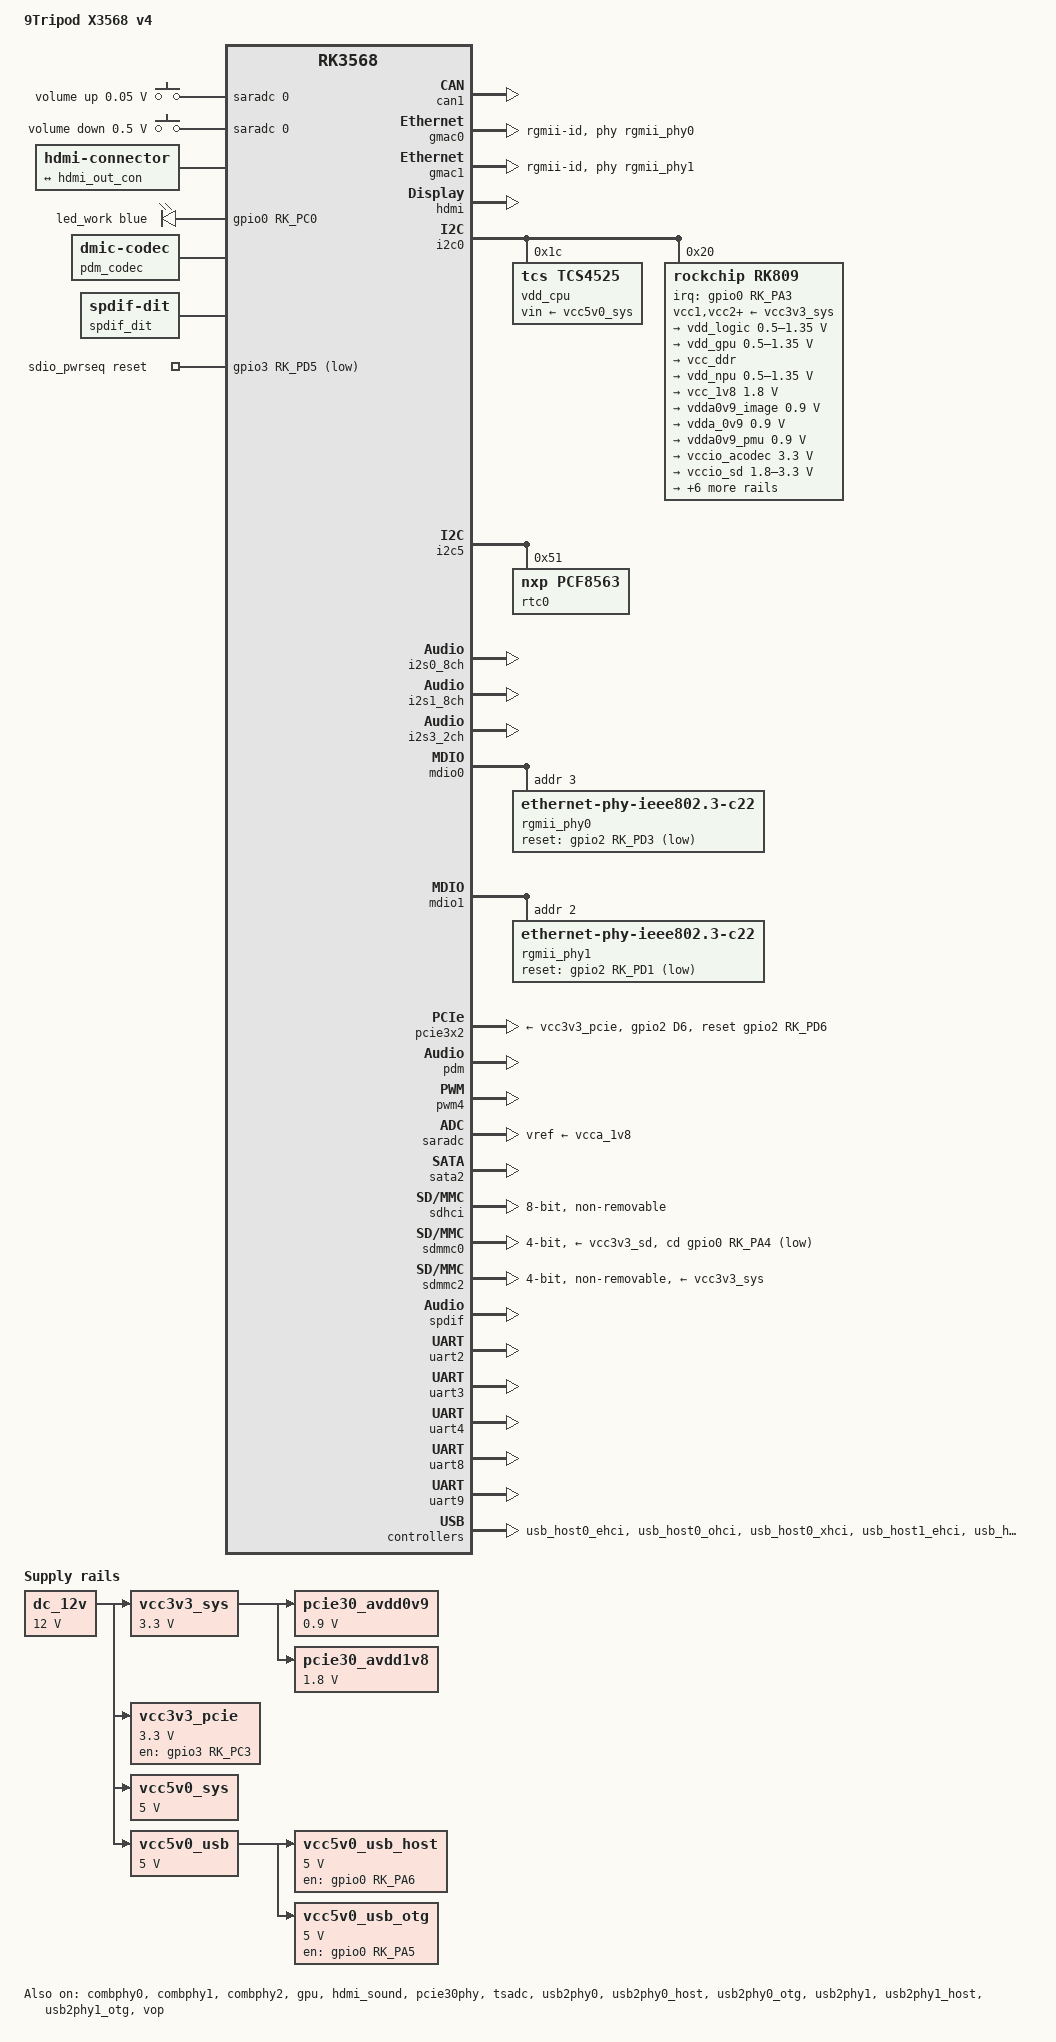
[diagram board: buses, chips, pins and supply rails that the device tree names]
// SPDX-License-Identifier: (GPL-2.0+ OR MIT)

/dts-v1/;
#include <dt-bindings/gpio/gpio.h>
#include <dt-bindings/input/input.h>
#include <dt-bindings/leds/common.h>
#include <dt-bindings/pinctrl/rockchip.h>
#include <dt-bindings/soc/rockchip,vop2.h>
#include "rk3568.dtsi"

/ {
	model = "9Tripod X3568 v4";
	compatible = "9tripod,x3568-v4", "rockchip,rk3568";

	aliases {
		ethernet0 = &gmac0;
		ethernet1 = &gmac1;
		mmc0 = &sdhci;
		mmc1 = &sdmmc0;
		mmc2 = &sdmmc2;
		rtc0 = &rtc0;
	};

	chosen {
		stdout-path = "serial2:1500000n8";
	};

	adc-keys {
		compatible = "adc-keys";
		io-channels = <&saradc 0>;
		io-channel-names = "buttons";
		keyup-threshold-microvolt = <1800000>;
		poll-interval = <100>;

		button-vol-up {
			label = "volume up";
			linux,code = <KEY_VOLUMEUP>;
			press-threshold-microvolt = <50000>;
		};

		button-vol-down {
			label = "volume down";
			linux,code = <KEY_VOLUMEDOWN>;
			press-threshold-microvolt = <500000>;
		};
	};

	hdmi-con {
		compatible = "hdmi-connector";
		type = "a";

		port {
			hdmi_con_in: endpoint {
				remote-endpoint = <&hdmi_out_con>;
			};
		};
	};

	leds {
		compatible = "gpio-leds";

		led_work: led-0 {
			gpios = <&gpio0 RK_PC0 GPIO_ACTIVE_HIGH>;
			function = LED_FUNCTION_HEARTBEAT;
			color = <LED_COLOR_ID_BLUE>;
			linux,default-trigger = "heartbeat";
			pinctrl-names = "default";
			pinctrl-0 = <&led_work_en>;
		};
	};

	rk809-sound {
		compatible = "simple-audio-card";
		simple-audio-card,format = "i2s";
		simple-audio-card,name = "Analog RK809";
		simple-audio-card,mclk-fs = <256>;

		simple-audio-card,cpu {
			sound-dai = <&i2s1_8ch>;
		};
		simple-audio-card,codec {
			sound-dai = <&rk809>;
		};
	};

	pdm_codec: pdm-codec {
		compatible = "dmic-codec";
		num-channels = <2>;
		#sound-dai-cells = <0>;
	};

	pdm_sound: pdm-sound {
		compatible = "simple-audio-card";
		simple-audio-card,name = "microphone";

		simple-audio-card,cpu {
			sound-dai = <&pdm>;
		};

		simple-audio-card,codec {
			sound-dai = <&pdm_codec>;
		};
	};

	spdif_dit: spdif-dit {
		compatible = "linux,spdif-dit";
		#sound-dai-cells = <0>;
	};

	spdif_sound: spdif-sound {
		compatible = "simple-audio-card";
		simple-audio-card,name = "SPDIF";

		simple-audio-card,cpu {
			sound-dai = <&spdif>;
		};
		simple-audio-card,codec {
			sound-dai = <&spdif_dit>;
		};
	};

	sdio_pwrseq: sdio-pwrseq {
		compatible = "mmc-pwrseq-simple";
		clocks = <&rk809 1>;
		clock-names = "ext_clock";
		pinctrl-names = "default";
		pinctrl-0 = <&wifi_enable>;
		post-power-on-delay-ms = <100>;
		power-off-delay-us = <300>;
		reset-gpios = <&gpio3 RK_PD5 GPIO_ACTIVE_LOW>;
	};

	dc_12v: regulator-dc-12v {
		compatible = "regulator-fixed";
		regulator-name = "dc_12v";
		regulator-always-on;
		regulator-boot-on;
		regulator-min-microvolt = <12000000>;
		regulator-max-microvolt = <12000000>;
	};

	pcie30_avdd0v9: regulator-pcie30-avdd0v9 {
		compatible = "regulator-fixed";
		regulator-name = "pcie30_avdd0v9";
		regulator-always-on;
		regulator-boot-on;
		regulator-min-microvolt = <900000>;
		regulator-max-microvolt = <900000>;
		vin-supply = <&vcc3v3_sys>;
	};

	pcie30_avdd1v8: regulator-pcie30-avdd1v8 {
		compatible = "regulator-fixed";
		regulator-name = "pcie30_avdd1v8";
		regulator-always-on;
		regulator-boot-on;
		regulator-min-microvolt = <1800000>;
		regulator-max-microvolt = <1800000>;
		vin-supply = <&vcc3v3_sys>;
	};

	vcc3v3_sys: regulator-vcc3v3-sys {
		compatible = "regulator-fixed";
		regulator-name = "vcc3v3_sys";
		regulator-always-on;
		regulator-boot-on;
		regulator-min-microvolt = <3300000>;
		regulator-max-microvolt = <3300000>;
		vin-supply = <&dc_12v>;
	};

	vcc3v3_pcie: regulator-vcc3v3-pcie {
		compatible = "regulator-fixed";
		enable-active-high;
		gpios = <&gpio3 RK_PC3 GPIO_ACTIVE_HIGH>;
		pinctrl-names = "default";
		pinctrl-0 = <&vcc3v3_pcie_en_pin>;
		regulator-name = "vcc3v3_pcie";
		regulator-min-microvolt = <3300000>;
		regulator-max-microvolt = <3300000>;
		startup-delay-us = <5000>;
		vin-supply = <&dc_12v>;
	};

	vcc5v0_sys: regulator-vcc5v0-sys {
		compatible = "regulator-fixed";
		regulator-name = "vcc5v0_sys";
		regulator-always-on;
		regulator-boot-on;
		regulator-min-microvolt = <5000000>;
		regulator-max-microvolt = <5000000>;
		vin-supply = <&dc_12v>;
	};

	vcc5v0_usb: regulator-vcc5v0-usb {
		compatible = "regulator-fixed";
		regulator-name = "vcc5v0_usb";
		regulator-always-on;
		regulator-boot-on;
		regulator-min-microvolt = <5000000>;
		regulator-max-microvolt = <5000000>;
		vin-supply = <&dc_12v>;
	};

	vcc5v0_usb_host: regulator-vcc5v0-usb-host {
		compatible = "regulator-fixed";
		enable-active-high;
		gpio = <&gpio0 RK_PA6 GPIO_ACTIVE_HIGH>;
		pinctrl-names = "default";
		pinctrl-0 = <&vcc5v0_usb_host_en>;
		regulator-name = "vcc5v0_usb_host";
		regulator-min-microvolt = <5000000>;
		regulator-max-microvolt = <5000000>;
		vin-supply = <&vcc5v0_usb>;
	};

	vcc5v0_usb_otg: regulator-vcc5v0-usb-otg {
		compatible = "regulator-fixed";
		enable-active-high;
		gpio = <&gpio0 RK_PA5 GPIO_ACTIVE_HIGH>;
		pinctrl-names = "default";
		pinctrl-0 = <&vcc5v0_usb_otg_en>;
		regulator-name = "vcc5v0_usb_otg";
		regulator-min-microvolt = <5000000>;
		regulator-max-microvolt = <5000000>;
		vin-supply = <&vcc5v0_usb>;
	};
};

&can1 {
	assigned-clocks = <&cru CLK_CAN1>;
	assigned-clock-rates = <150000000>;
	pinctrl-names = "default";
	pinctrl-0 = <&can1m1_pins>;
	status = "okay";
};

/* used for usb_host0_xhci */
&combphy0 {
	status = "okay";
};

/* used for usb_host1_xhci */
&combphy1 {
	status = "okay";
};

/* connected to sata2 */
&combphy2 {
	status = "okay";
};

&cpu0 {
	cpu-supply = <&vdd_cpu>;
};

&cpu1 {
	cpu-supply = <&vdd_cpu>;
};

&cpu2 {
	cpu-supply = <&vdd_cpu>;
};

&cpu3 {
	cpu-supply = <&vdd_cpu>;
};

&gmac0 {
	assigned-clocks = <&cru SCLK_GMAC0_RX_TX>, <&cru SCLK_GMAC0>;
	assigned-clock-parents = <&cru SCLK_GMAC0_RGMII_SPEED>;
	assigned-clock-rates = <0>, <125000000>;
	clock_in_out = "output";
	pinctrl-names = "default";
	pinctrl-0 = <&gmac0_miim
		     &gmac0_tx_bus2
		     &gmac0_rx_bus2
		     &gmac0_rgmii_clk
		     &gmac0_rgmii_bus>;
	phy-handle = <&rgmii_phy0>;
	phy-mode = "rgmii-id";
	status = "okay";
};

&gmac1 {
	assigned-clocks = <&cru SCLK_GMAC1_RX_TX>, <&cru SCLK_GMAC1>;
	assigned-clock-parents = <&cru SCLK_GMAC1_RGMII_SPEED>;
	assigned-clock-rates = <0>, <125000000>;
	clock_in_out = "output";
	pinctrl-names = "default";
	pinctrl-0 = <&gmac1m1_miim
		     &gmac1m1_tx_bus2
		     &gmac1m1_rx_bus2
		     &gmac1m1_rgmii_clk
		     &gmac1m1_rgmii_bus>;
	phy-handle = <&rgmii_phy1>;
	phy-mode = "rgmii-id";
	status = "okay";
};

&gpu {
	mali-supply = <&vdd_gpu>;
	status = "okay";
};

&hdmi {
	avdd-0v9-supply = <&vdda0v9_image>;
	avdd-1v8-supply = <&vcca1v8_image>;
	status = "okay";
};

&hdmi_in {
	hdmi_in_vp0: endpoint {
		remote-endpoint = <&vp0_out_hdmi>;
	};
};

&hdmi_out {
	hdmi_out_con: endpoint {
		remote-endpoint = <&hdmi_con_in>;
	};
};

&hdmi_sound {
	status = "okay";
};

&i2c0 {
	status = "okay";

	vdd_cpu: regulator@1c {
		compatible = "tcs,tcs4525";
		reg = <0x1c>;
		fcs,suspend-voltage-selector = <1>;
		regulator-name = "vdd_cpu";
		regulator-always-on;
		regulator-boot-on;
		regulator-min-microvolt = <800000>;
		regulator-max-microvolt = <1150000>;
		regulator-ramp-delay = <2300>;
		vin-supply = <&vcc5v0_sys>;

		regulator-state-mem {
			regulator-off-in-suspend;
		};
	};

	rk809: pmic@20 {
		compatible = "rockchip,rk809";
		reg = <0x20>;
		interrupt-parent = <&gpio0>;
		interrupts = <RK_PA3 IRQ_TYPE_LEVEL_LOW>;
		assigned-clocks = <&cru I2S1_MCLKOUT_TX>;
		assigned-clock-parents = <&cru CLK_I2S1_8CH_TX>;
		#clock-cells = <1>;
		clock-names = "mclk";
		clocks = <&cru I2S1_MCLKOUT_TX>;
		pinctrl-names = "default";
		pinctrl-0 = <&pmic_int>, <&i2s1m0_mclk>;
		system-power-controller;
		#sound-dai-cells = <0>;
		vcc1-supply = <&vcc3v3_sys>;
		vcc2-supply = <&vcc3v3_sys>;
		vcc3-supply = <&vcc3v3_sys>;
		vcc4-supply = <&vcc3v3_sys>;
		vcc5-supply = <&vcc3v3_sys>;
		vcc6-supply = <&vcc3v3_sys>;
		vcc7-supply = <&vcc3v3_sys>;
		vcc8-supply = <&vcc3v3_sys>;
		vcc9-supply = <&vcc3v3_sys>;
		wakeup-source;

		regulators {
			vdd_logic: DCDC_REG1 {
				regulator-name = "vdd_logic";
				regulator-always-on;
				regulator-boot-on;
				regulator-initial-mode = <0x2>;
				regulator-min-microvolt = <500000>;
				regulator-max-microvolt = <1350000>;
				regulator-ramp-delay = <6001>;

				regulator-state-mem {
					regulator-off-in-suspend;
				};
			};

			vdd_gpu: DCDC_REG2 {
				regulator-name = "vdd_gpu";
				regulator-always-on;
				regulator-initial-mode = <0x2>;
				regulator-min-microvolt = <500000>;
				regulator-max-microvolt = <1350000>;
				regulator-ramp-delay = <6001>;

				regulator-state-mem {
					regulator-off-in-suspend;
				};
			};

			vcc_ddr: DCDC_REG3 {
				regulator-name = "vcc_ddr";
				regulator-always-on;
				regulator-boot-on;
				regulator-initial-mode = <0x2>;

				regulator-state-mem {
					regulator-on-in-suspend;
				};
			};

			vdd_npu: DCDC_REG4 {
				regulator-name = "vdd_npu";
				regulator-initial-mode = <0x2>;
				regulator-min-microvolt = <500000>;
				regulator-max-microvolt = <1350000>;
				regulator-ramp-delay = <6001>;

				regulator-state-mem {
					regulator-off-in-suspend;
				};
			};

			vcc_1v8: DCDC_REG5 {
				regulator-name = "vcc_1v8";
				regulator-always-on;
				regulator-boot-on;
				regulator-min-microvolt = <1800000>;
				regulator-max-microvolt = <1800000>;

				regulator-state-mem {
					regulator-off-in-suspend;
				};
			};

			vdda0v9_image: LDO_REG1 {
				regulator-name = "vdda0v9_image";
				regulator-min-microvolt = <900000>;
				regulator-max-microvolt = <900000>;

				regulator-state-mem {
					regulator-off-in-suspend;
				};
			};

			vdda_0v9: LDO_REG2 {
				regulator-name = "vdda_0v9";
				regulator-always-on;
				regulator-boot-on;
				regulator-min-microvolt = <900000>;
				regulator-max-microvolt = <900000>;

				regulator-state-mem {
					regulator-off-in-suspend;
				};
			};

			vdda0v9_pmu: LDO_REG3 {
				regulator-name = "vdda0v9_pmu";
				regulator-always-on;
				regulator-boot-on;
				regulator-min-microvolt = <900000>;
				regulator-max-microvolt = <900000>;

				regulator-state-mem {
					regulator-on-in-suspend;
					regulator-suspend-microvolt = <900000>;
				};
			};

			vccio_acodec: LDO_REG4 {
				regulator-name = "vccio_acodec";
				regulator-always-on;
				regulator-min-microvolt = <3300000>;
				regulator-max-microvolt = <3300000>;

				regulator-state-mem {
					regulator-off-in-suspend;
				};
			};

			vccio_sd: LDO_REG5 {
				regulator-name = "vccio_sd";
				regulator-min-microvolt = <1800000>;
				regulator-max-microvolt = <3300000>;

				regulator-state-mem {
					regulator-off-in-suspend;
				};
			};

			vcc3v3_pmu: LDO_REG6 {
				regulator-name = "vcc3v3_pmu";
				regulator-always-on;
				regulator-boot-on;
				regulator-min-microvolt = <3300000>;
				regulator-max-microvolt = <3300000>;

				regulator-state-mem {
					regulator-on-in-suspend;
					regulator-suspend-microvolt = <3300000>;
				};
			};

			vcca_1v8: LDO_REG7 {
				regulator-name = "vcca_1v8";
				regulator-always-on;
				regulator-boot-on;
				regulator-min-microvolt = <1800000>;
				regulator-max-microvolt = <1800000>;

				regulator-state-mem {
					regulator-off-in-suspend;
				};
			};

			vcca1v8_pmu: LDO_REG8 {
				regulator-name = "vcca1v8_pmu";
				regulator-always-on;
				regulator-boot-on;
				regulator-min-microvolt = <1800000>;
				regulator-max-microvolt = <1800000>;

				regulator-state-mem {
					regulator-on-in-suspend;
					regulator-suspend-microvolt = <1800000>;
				};
			};

			vcca1v8_image: LDO_REG9 {
				regulator-name = "vcca1v8_image";
				regulator-min-microvolt = <1800000>;
				regulator-max-microvolt = <1800000>;

				regulator-state-mem {
					regulator-off-in-suspend;
				};
			};

			vcc_3v3: SWITCH_REG1 {
				regulator-name = "vcc_3v3";
				regulator-always-on;
				regulator-boot-on;

				regulator-state-mem {
					regulator-off-in-suspend;
				};
			};

			vcc3v3_sd: SWITCH_REG2 {
				regulator-name = "vcc3v3_sd";

				regulator-state-mem {
					regulator-off-in-suspend;
				};
			};
		};

		codec {
			rockchip,mic-in-differential;
		};
	};
};

&i2c5 {
	status = "okay";

	rtc0: rtc@51 {
		compatible = "nxp,pcf8563";
		reg = <0x51>;
		#clock-cells = <0>;
	};
};

&i2s0_8ch {
	status = "okay";
};

&i2s1_8ch {
	pinctrl-0 = <&i2s1m0_sclktx &i2s1m0_lrcktx &i2s1m0_sdi0 &i2s1m0_sdo0>;
	rockchip,trcm-sync-tx-only;
	status = "okay";
};

/* used for AP6275S Bluetooth Sound */
&i2s3_2ch {
	status = "okay";
};

&mdio0 {
	rgmii_phy0: ethernet-phy@3 {
		compatible = "ethernet-phy-ieee802.3-c22";
		reg = <3>;
		reset-assert-us = <20000>;
		reset-deassert-us = <100000>;
		reset-gpios = <&gpio2 RK_PD3 GPIO_ACTIVE_LOW>;

		leds {
			#address-cells = <1>;
			#size-cells = <0>;

			led@1 {
				reg = <1>;
				color = <LED_COLOR_ID_GREEN>;
				function = LED_FUNCTION_LAN;
				default-state = "keep";
			};

			/* Note: The LED polarity is inverted */
			led@2 {
				reg = <2>;
				color = <LED_COLOR_ID_AMBER>;
				function = LED_FUNCTION_LAN;
				default-state = "keep";
			};
		};
	};
};

&mdio1 {
	rgmii_phy1: ethernet-phy@2 {
		compatible = "ethernet-phy-ieee802.3-c22";
		reg = <2>;
		reset-assert-us = <20000>;
		reset-deassert-us = <100000>;
		reset-gpios = <&gpio2 RK_PD1 GPIO_ACTIVE_LOW>;

		leds {
			#address-cells = <1>;
			#size-cells = <0>;

			led@1 {
				reg = <1>;
				color = <LED_COLOR_ID_GREEN>;
				function = LED_FUNCTION_LAN;
				default-state = "keep";
			};

			/* Note: The LED polarity is inverted */
			led@2 {
				reg = <2>;
				color = <LED_COLOR_ID_AMBER>;
				function = LED_FUNCTION_LAN;
				default-state = "keep";
			};
		};
	};
};

&pcie30phy {
	status = "okay";
};

&pcie3x2 {
	pinctrl-names = "default";
	pinctrl-0 = <&pcie_reset_pin>;
	reset-gpios = <&gpio2 RK_PD6 GPIO_ACTIVE_HIGH>;
	vpcie3v3-supply = <&vcc3v3_pcie>;
	status = "okay";
};

&pdm {
	status = "okay";
};

&pinctrl {
	leds {
		led_work_en: led_work_en {
			rockchip,pins = <0 RK_PC0 RK_FUNC_GPIO &pcfg_pull_none>;
		};
	};

	pmic {
		pmic_int: pmic_int {
			rockchip,pins = <0 RK_PA3 RK_FUNC_GPIO &pcfg_pull_up>;
		};
	};

	sdio-pwrseq {
		wifi_enable: wifi-enable {
			rockchip,pins = <3 RK_PD5 RK_FUNC_GPIO &pcfg_pull_none>;
		};
	};

	usb {
		vcc5v0_usb_host_en: vcc5v0_usb_host_en {
			rockchip,pins = <0 RK_PA6 RK_FUNC_GPIO &pcfg_pull_none>;
		};
		vcc5v0_usb_otg_en: vcc5v0_usb_otg_en {
			rockchip,pins = <0 RK_PA5 RK_FUNC_GPIO &pcfg_pull_none>;
		};
	};

	pcie {
		pcie_reset_pin: pcie-reset-pin {
			rockchip,pins = <2 RK_PD6 RK_FUNC_GPIO &pcfg_pull_none>;
		};
		vcc3v3_pcie_en_pin: vcc3v3-pcie-en-pin {
			rockchip,pins = <3 RK_PC3 RK_FUNC_GPIO &pcfg_pull_none>;
		};
	};
};

&pmu_io_domains {
	pmuio1-supply = <&vcc3v3_pmu>;
	pmuio2-supply = <&vcc3v3_pmu>;
	vccio1-supply = <&vccio_acodec>;
	vccio2-supply = <&vcc_1v8>;
	vccio3-supply = <&vccio_sd>;
	vccio4-supply = <&vcc_1v8>;
	vccio5-supply = <&vcc_3v3>;
	vccio6-supply = <&vcc_1v8>;
	vccio7-supply = <&vcc_3v3>;
	status = "okay";
};

&pwm4 {
	status = "okay";
};

/* Required remotectl for IR receiver */
&pwm7 {
	status = "disabled";
};

&saradc {
	vref-supply = <&vcca_1v8>;
	status = "okay";
};

&sata2 {
	status = "okay";
};

/* used for eMMC */
&sdhci {
	bus-width = <8>;
	max-frequency = <200000000>;
	mmc-hs200-1_8v;
	non-removable;
	pinctrl-names = "default";
	pinctrl-0 = <&emmc_bus8 &emmc_clk &emmc_cmd &emmc_datastrobe>;
	status = "okay";
};

/* used for microSD (TF) Slot */
&sdmmc0 {
	bus-width = <4>;
	cap-sd-highspeed;
	cd-gpios = <&gpio0 RK_PA4 GPIO_ACTIVE_LOW>;
	disable-wp;
	pinctrl-names = "default";
	pinctrl-0 = <&sdmmc0_bus4 &sdmmc0_clk &sdmmc0_cmd &sdmmc0_det>;
	sd-uhs-sdr104;
	vmmc-supply = <&vcc3v3_sd>;
	vqmmc-supply = <&vccio_sd>;
	status = "okay";
};

/* used for AP6275S WiFi */
&sdmmc2 {
	bus-width = <4>;
	cap-sd-highspeed;
	cap-sdio-irq;
	keep-power-in-suspend;
	mmc-pwrseq = <&sdio_pwrseq>;
	non-removable;
	pinctrl-names = "default";
	pinctrl-0 = <&sdmmc2m0_bus4 &sdmmc2m0_cmd &sdmmc2m0_clk>;
	sd-uhs-sdr104;
	vmmc-supply = <&vcc3v3_sys>;
	vqmmc-supply = <&vcc_1v8>;
	status = "okay";
};

&spdif {
	status = "okay";
};

&tsadc {
	rockchip,hw-tshut-mode = <1>;
	rockchip,hw-tshut-polarity = <0>;
	status = "okay";
};

/* used for Debug */
&uart2 {
	status = "okay";
};

&uart3 {
	pinctrl-0 = <&uart3m1_xfer>;
	status = "okay";
};

&uart4 {
	pinctrl-0 = <&uart4m1_xfer>;
	status = "okay";
};

/* used for WiFi/BT AP6275S */
&uart8 {
	pinctrl-0 = <&uart8m0_xfer &uart8m0_ctsn>;
	status = "okay";
};

&uart9 {
	pinctrl-0 = <&uart9m1_xfer>;
	status = "okay";
};

&usb_host0_ehci {
	status = "okay";
};

&usb_host0_ohci {
	status = "okay";
};

&usb_host0_xhci {
	extcon = <&usb2phy0>;
	status = "okay";
};

&usb_host1_ehci {
	status = "okay";
};

&usb_host1_ohci {
	status = "okay";
};

&usb_host1_xhci {
	status = "okay";
};

&usb2phy0 {
	status = "okay";
};

&usb2phy0_host {
	phy-supply = <&vcc5v0_usb_host>;
	status = "okay";
};

&usb2phy0_otg {
	phy-supply = <&vcc5v0_usb_otg>;
	status = "okay";
};

&usb2phy1 {
	status = "okay";
};

&usb2phy1_host {
	phy-supply = <&vcc5v0_usb_host>;
	status = "okay";
};

&usb2phy1_otg {
	phy-supply = <&vcc5v0_usb_host>;
	status = "okay";
};

&vop {
	assigned-clocks = <&cru DCLK_VOP0>, <&cru DCLK_VOP1>;
	assigned-clock-parents = <&pmucru PLL_HPLL>, <&cru PLL_VPLL>;
	status = "okay";
};

&vop_mmu {
	status = "okay";
};

&vp0 {
	vp0_out_hdmi: endpoint@ROCKCHIP_VOP2_EP_HDMI0 {
		reg = <ROCKCHIP_VOP2_EP_HDMI0>;
		remote-endpoint = <&hdmi_in_vp0>;
	};
};
